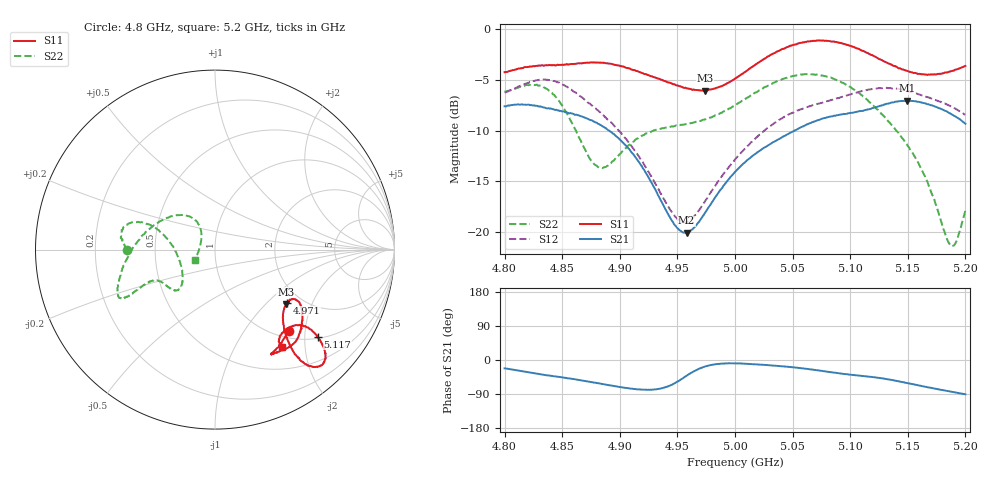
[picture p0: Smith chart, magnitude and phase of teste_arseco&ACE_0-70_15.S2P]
! Network Analyzer HP8722D
! Hewlett-Packard
! Data name: Linha & Wilkinson
! Saver's name: Rodrigo Anjos
! Comments: Teste da utilização de aquisição
! continua pelo VNA HP8722D
! Time and date: 8/5/2025 12:53
!  Frequency  S11  S21  S12  S22
# HZ  S  MA R 50
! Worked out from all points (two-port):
!   401 points, 4.8 GHz to 5.2 GHz, reference 50 ohm
!   highest |S21| = -7.07 dB at 5.149 GHz (marker M1); lowest = -20.0 dB at 4.958 GHz (marker M2)
!   |S21| within 3 dB of the highest: start of sweep to 4.891 GHz; 5.051 GHz to end of sweep
!   lowest |S11| = -6.1 dB at 4.974 GHz (marker M3), VSWR 2.98, Z = 82 - j66.1 ohm
!   |S11| at or under -10 dB: nowhere
!   |S22| runs from -21.4 to -4.4 dB; largest |S21 - S12| = 0.95
!   S11 on the Smith chart (normalised r, x): 4.8 GHz: 1.14, -1.64; 4.971 GHz: 1.69, -1.32; 5.117 GHz: 1.05, -2.32; 5.2 GHz: 0.82, -1.57
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4.8e9  0.6119 -47.7  0.4158 -22.1  0.4854 -175.6  0.4908 -179.7
4.837e9  0.6615 -61.5  0.4062 -40.7  0.5614 167.4  0.5058 163.6
4.851e9  0.6655 -59.7  0.3929 -46.3  0.53 158.9  0.4101 159.4
4.867e9  0.6761 -54.8  0.3709 -53.8  0.4608 150.9  0.2742 167.0
4.886e9  0.6809 -48.4  0.3293 -63.7  0.3742 144.1  0.2081 -157.9
4.91e9  0.6308 -40.0  0.2477 -75.6  0.2661 137.7  0.275 -132.9
4.934e9  0.5682 -33.1  0.1491 -76.2  0.1614 141.3  0.321 -135.3
4.949e9  0.5273 -31.7  0.1064 -58.9  0.1179 159.3  0.3351 -141.4
4.958e9  0.5102 -32.8  0.09946 -41.5  0.1123 176.8  0.3416 -145.3
4.971e9  0.4975 -36.3  0.1174 -20.6  0.134 -162.0  0.3548 -150.1
4.974e9  0.4973 -37.6  0.1246 -17.1  0.1421 -158.8  0.3586 -151.0
5e9  0.5689 -47.7  0.1979 -8.8  0.2276 -146.7  0.4209 -153.8
5.038e9  0.7788 -52.4  0.2868 -16.0  0.3563 -147.7  0.556 -151.8
5.067e9  0.8708 -48.3  0.3476 -25.2  0.4207 -154.3  0.5977 -154.9
5.096e9  0.839 -43.1  0.3817 -37.2  0.4685 -162.6  0.5336 -167.1
5.117e9  0.7499 -40.2  0.403 -44.2  0.5034 -172.4  0.435 174.5
5.134e9  0.6733 -40.1  0.4304 -51.6  0.5115 177.5  0.347 153.3
5.149e9  0.6223 -42.5  0.443 -60.5  0.4955 169.0  0.2713 134.7
5.165e9  0.5959 -47.9  0.4306 -70.5  0.464 161.6  0.1879 123.3
5.187e9  0.6173 -54.8  0.3831 -83.3  0.4169 153.9  0.08635 159.4
5.192e9  0.6305 -55.4  0.3686 -86.0  0.4022 152.4  0.08967 -177.7
5.2e9  0.6572 -55.6  0.3413 -90.5  0.3781 149.7  0.1281 -151.9
